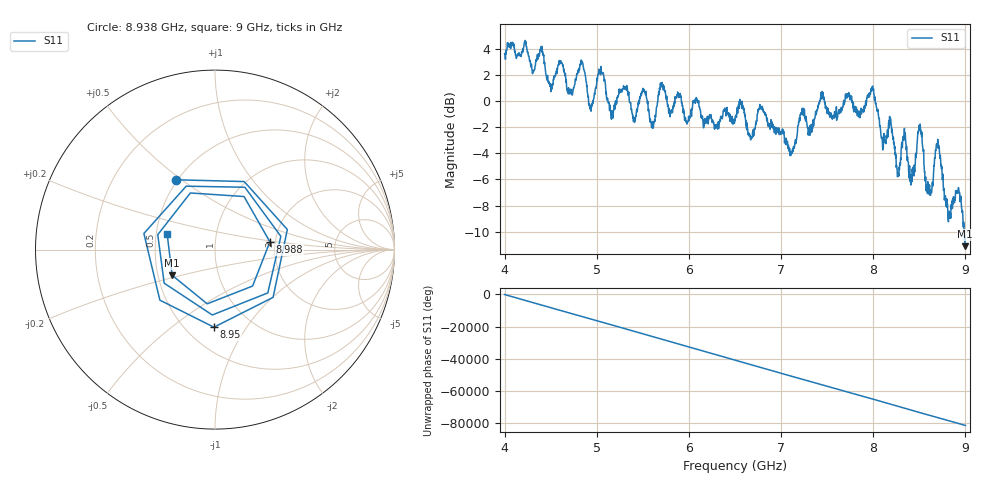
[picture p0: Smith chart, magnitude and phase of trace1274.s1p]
! Created with skrf 1.8.0 (http://scikit-rf.org).
# Hz S RI R 50.0
!freq ReS11 ImS11
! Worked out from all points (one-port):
!   1601 points, 4 GHz to 9 GHz, reference 50 ohm
!   lowest |S11| = -11.1 dB at 8.997 GHz (marker M1), VSWR 1.77, Z = 29.7 - j9.2 ohm
!   |S11| at or under -10 dB: 8.986917 GHz to end of sweep
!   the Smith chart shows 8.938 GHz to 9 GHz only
!   S11 on the Smith chart (normalised r, x): 8.938 GHz: 0.49, +0.48; 8.95 GHz: 0.68, -0.72; 8.988 GHz: 1.87, +0.18; 9 GHz: 0.57, +0.11
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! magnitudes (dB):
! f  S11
! 4 GHz  3.6
! 4.625 GHz  2.9
! 4.716 GHz  0.9
! 4.844 GHz  2.9
! 4.938 GHz  -0.8
! 5.038 GHz  2.3
! 5.159 GHz  -1.4
! 5.25 GHz  0.8
! 5.6 GHz  -1.9
! 5.706 GHz  1.2
! 5.875 GHz  0.4
! 6.5 GHz  -1.5
! 7.125 GHz  -3.7
! 7.231 GHz  -0.9
! 7.75 GHz  0.1
! 7.994 GHz  1.1
! 8.109 GHz  -3.6
! 8.375 GHz  -4.6
! 8.425 GHz  -5.4
! 8.506 GHz  -1.8
! 8.597 GHz  -7.1
! 8.697 GHz  -3.5
! 8.812 GHz  -9.0
! 8.938 GHz  -7.0
! 8.95 GHz  -7.3
! 8.988 GHz  -10.2
! 8.997 GHz  -11.1
! 9 GHz  -11.1
